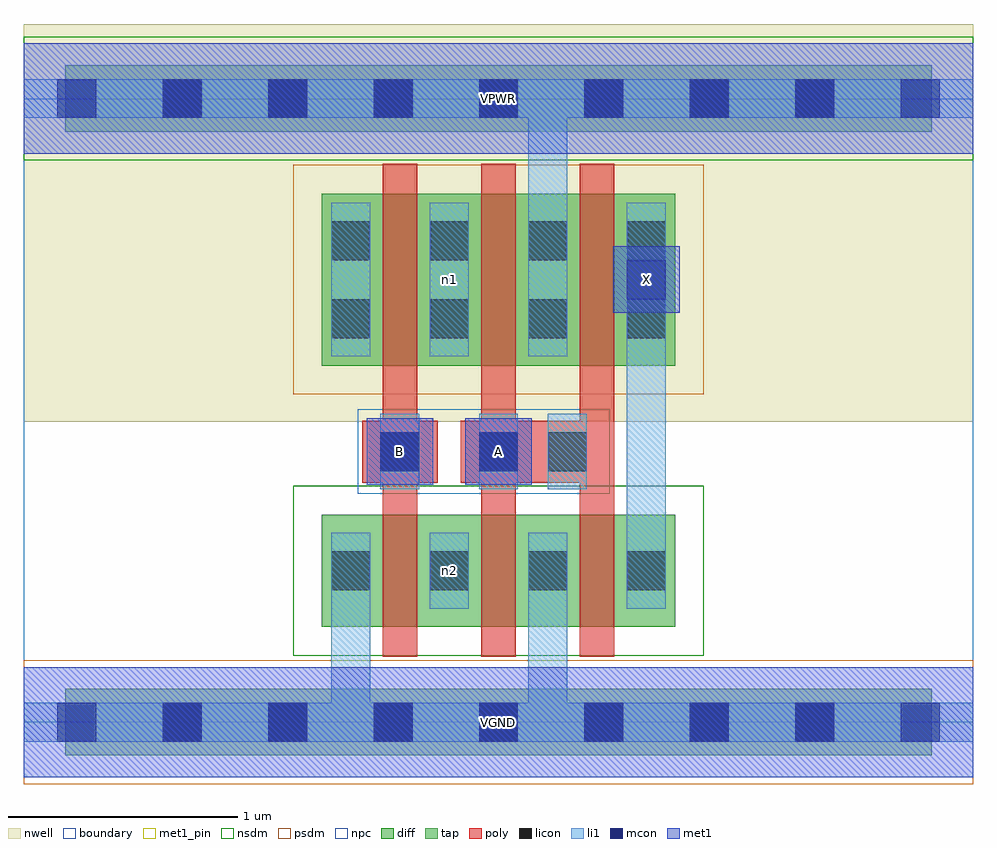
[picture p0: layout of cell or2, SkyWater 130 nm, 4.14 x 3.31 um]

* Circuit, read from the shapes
.subckt or2 A B VGND VPWR X n1 n2
XM1 n2 B VGND VGND sky130_fd_pr__nfet_01v8 w=0.49 l=0.15
XM2 VGND A n2 VGND sky130_fd_pr__nfet_01v8 w=0.49 l=0.15
XM3 X A VGND VGND sky130_fd_pr__nfet_01v8 w=0.49 l=0.15
XM4 n1 B n3 VPWR sky130_fd_pr__pfet_01v8 w=0.75 l=0.15
XM5 VPWR A n1 VPWR sky130_fd_pr__pfet_01v8 w=0.75 l=0.15
XM6 X A VPWR VPWR sky130_fd_pr__pfet_01v8 w=0.75 l=0.15
.ends

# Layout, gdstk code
import gdstk
lib = gdstk.Library(unit=1e-6, precision=1e-09)
def R(c, l, rs):  # rectangles x0, y0, x1, y1
    for r in rs: c.add(gdstk.rectangle(r[:2], r[2:], *l))
def A(c, l, x, y, w, h, nx, ny, dx, dy):  # array of equal rectangles
    R(c, l, [(x+i*dx, y+j*dy, x+i*dx+w, y+j*dy+h) for i in range(nx) for j in range(ny)])
nwell = (64, 20)
diff = (65, 20)
tap = (65, 44)
poly = (66, 20)
licon = (66, 44)
li1 = (67, 20)
mcon = (67, 44)
met1_pin = (68, 16)
met1 = (68, 20)
nsdm = (93, 44)
psdm = (94, 20)
npc = (95, 20)
boundary = (235, 4)

or2 = lib.new_cell('or2')
R(or2, nwell, [(0,1.31,4.14,3.045)])
R(or2, diff, [(1.3,0.415,2.84,0.905), (1.3,1.555,2.84,2.305)])
R(or2, tap, [(0.18,-0.145,3.96,0.145), (0.18,2.575,3.96,2.865)])
A(or2, poly, 1.565, 0.285, 0.15, 2.15, 3, 1, 0.43, 0)
R(or2, poly, [(1.475,1.045,1.805,1.315), (1.905,1.045,2.235,1.315), (2.205,1.045,2.535,1.315)])
A(or2, licon, 0.605, -0.085, 0.17, 0.17, 7, 2, 0.46, 2.72)
A(or2, licon, 1.34, 0.575, 0.17, 0.17, 4, 2, 0.43, 1.1)
A(or2, licon, 1.34, 2.015, 0.17, 0.17, 4, 1, 0.43, 0)
R(or2, licon, [(1.555,1.095,1.725,1.265), (1.985,1.095,2.155,1.265), (2.285,1.095,2.455,1.265)])
A(or2, li1, 1.34, 0.495, 0.17, 0.33, 4, 1, 0.43, 0)
A(or2, li1, 1.34, 1.595, 0.17, 0.67, 4, 1, 0.43, 0)
R(or2, li1, [(0,-0.085,4.14,0.085), (1.34,-0.085,1.51,0.825), (2.2,-0.085,2.37,0.825), (2.63,0.495,2.8,2.265), (1.555,1.015,1.725,1.345), (1.985,1.015,2.155,1.345), (2.285,1.015,2.455,1.345), (2.2,1.595,2.37,2.805), (0,2.635,4.14,2.805)])
A(or2, mcon, 0.145, -0.085, 0.17, 0.17, 9, 2, 0.46, 2.72)
R(or2, mcon, [(1.555,1.095,1.725,1.265), (1.985,1.095,2.155,1.265), (2.63,1.845,2.8,2.015)])
R(or2, met1_pin, [(0,-0.24,4.14,0.24), (1.495,1.035,1.785,1.325), (1.925,1.035,2.215,1.325), (2.57,1.785,2.86,2.075), (0,2.48,4.14,2.96)])
R(or2, met1, [(0,-0.24,4.14,0.24), (1.495,1.035,1.785,1.325), (1.925,1.035,2.215,1.325), (2.57,1.785,2.86,2.075), (0,2.48,4.14,2.96)])
R(or2, nsdm, [(1.175,0.29,2.965,1.03), (0,2.45,4.14,2.99)])
R(or2, psdm, [(0,-0.27,4.14,0.27), (1.175,1.43,2.965,2.43)])
R(or2, npc, [(1.455,0.995,2.555,1.365)])
R(or2, boundary, [(0,0,4.14,2.72)])
or2.add(gdstk.Label('n2', (1.855,0.66), layer=67, texttype=5))
or2.add(gdstk.Label('n1', (1.855,1.93), layer=67, texttype=5))
or2.add(gdstk.Label('A', (2.07,1.18), layer=68, texttype=5))
or2.add(gdstk.Label('B', (1.64,1.18), layer=68, texttype=5))
or2.add(gdstk.Label('X', (2.715,1.93), layer=68, texttype=5))
or2.add(gdstk.Label('VPWR', (2.07,2.72), layer=68, texttype=5))
or2.add(gdstk.Label('VGND', (2.07,0), layer=68, texttype=5))
or2.add(gdstk.Label('A', (2.07,1.18), layer=68, texttype=16))
or2.add(gdstk.Label('B', (1.64,1.18), layer=68, texttype=16))
or2.add(gdstk.Label('X', (2.715,1.93), layer=68, texttype=16))
or2.add(gdstk.Label('VPWR', (2.07,2.72), layer=68, texttype=16))
or2.add(gdstk.Label('VGND', (2.07,0), layer=68, texttype=16))

lib.write_gds('or2.gds')
